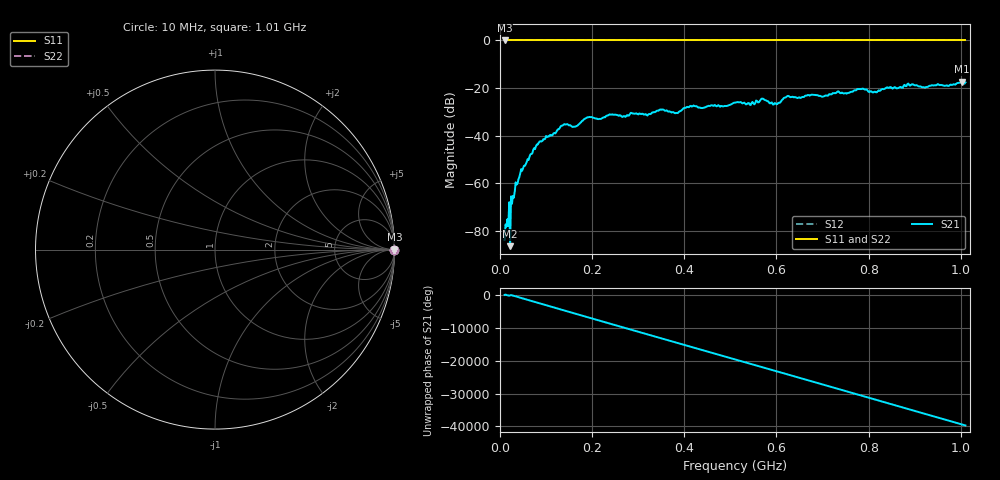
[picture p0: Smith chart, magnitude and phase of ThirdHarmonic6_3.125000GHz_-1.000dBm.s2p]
! 8/17/2025 9:17:14 AM
! C:\ANRITSUVNA\TEMP\TEMP.S2P
! CHANNEL.1
! TR.MEASUREMENT
! RAW.DATA
! RF.CORRECTION.OFF
! AVERAGING.OFF
! IF.BANDWIDTH: 5KHZ
! SWEEPTYPE:  FREQ.SWEEP(Linear)
! Reference Plane Port Info
! PORT:  PORT1  PORT2
! DISTANCE:  0  m  0  m
! TIME:  0  s  0  s
! PHASE.OFFSET:  0  deg.  0  deg.
! LOSS:  0  dB  0  dB
! REF.LOSS:  0  dB  0  dB
! REF.FREQ:  0  Hz  0  Hz
! Power Info
! POWER:  -20  dBm  -20  dBm
! EFF.POWER:  -20  dBm  -20  dBm
! SOURCE.ATTEN:  0  dB  0  dB
! TEST.ATTEN:  0  dB  0  dB
# GHZ S RI R 50.0
! FREQ.GHZ  S11RE  S11IM  S21RE  S21IM  S12RE  S12IM  S22RE  S22IM
!; PortSelection: Port_12
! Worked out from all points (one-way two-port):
!   501 points, 10 MHz to 1.01 GHz, reference 50 ohm
!   highest |S21| = -17.35 dB at 1.002 GHz (marker M1); lowest = -86.3 dB at 22 MHz (marker M2)
!   lowest |S11| = 0.0 dB at 10 MHz (marker M3)
!   |S11| at or under -10 dB: nowhere
!   |S22| runs from 0.0 to 0.0 dB; largest |S21 - S12| = 1.1
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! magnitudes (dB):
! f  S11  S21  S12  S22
! 10 MHz  0.0  -83.7  0.0  0.0
! 18 MHz  0.0  -77.9  0.0  0.0
! 22 MHz  0.0  -86.3  0.0  0.0
! 28 MHz  0.0  -65.2  0.0  0.0
! 44 MHz  0.0  -55.7  0.0  0.0
! 82 MHz  0.0  -43.6  0.0  0.0
! 136 MHz  0.0  -35.7  0.0  0.0
! 162 MHz  0.0  -36.2  0.0  0.0
! 178 MHz  0.0  -33.8  0.0  0.0
! 344 MHz  0.0  -29.5  0.0  0.0
! 382 MHz  0.0  -30.4  0.0  0.0
! 416 MHz  0.0  -27.7  0.0  0.0
! 510 MHz  0.0  -26.1  0.0  0.0
! 570 MHz  0.0  -24.4  0.0  0.0
! 598 MHz  0.0  -26.4  0.0  0.0
! 622 MHz  0.0  -23.6  0.0  0.0
! 678 MHz  0.0  -22.8  0.0  0.0
! 784 MHz  0.0  -20.4  0.0  0.0
! 814 MHz  0.0  -21.5  0.0  0.0
! 844 MHz  0.0  -19.9  0.0  0.0
! 1.002 GHz  0.0  -17.3  0.0  0.0
! 1.01 GHz  0.0  -17.6  0.0  0.0
